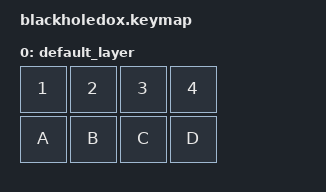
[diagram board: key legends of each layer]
// This file was generated from a template. Edit it to match your keyboard.
// See https://zmk.dev/docs/development/hardware-integration/new-shield for more instructions.

#include <behaviors.dtsi>
#include <dt-bindings/zmk/keys.h>
#include <dt-bindings/zmk/bt.h>
#include <dt-bindings/zmk/ext_power.h>
#include <dt-bindings/zmk/outputs.h>

/ {
    // Define a default keymap here.
    // See https://zmk.dev/docs/development/hardware-integration/new-shield#default-keymap.
    keymap {
        compatible = "zmk,keymap";

        default_layer {
            bindings = <
                &kp N1 &kp N2    &kp N3 &kp N4
                &kp A  &kp B     &kp C  &kp D
            >;
        };
    };
};
